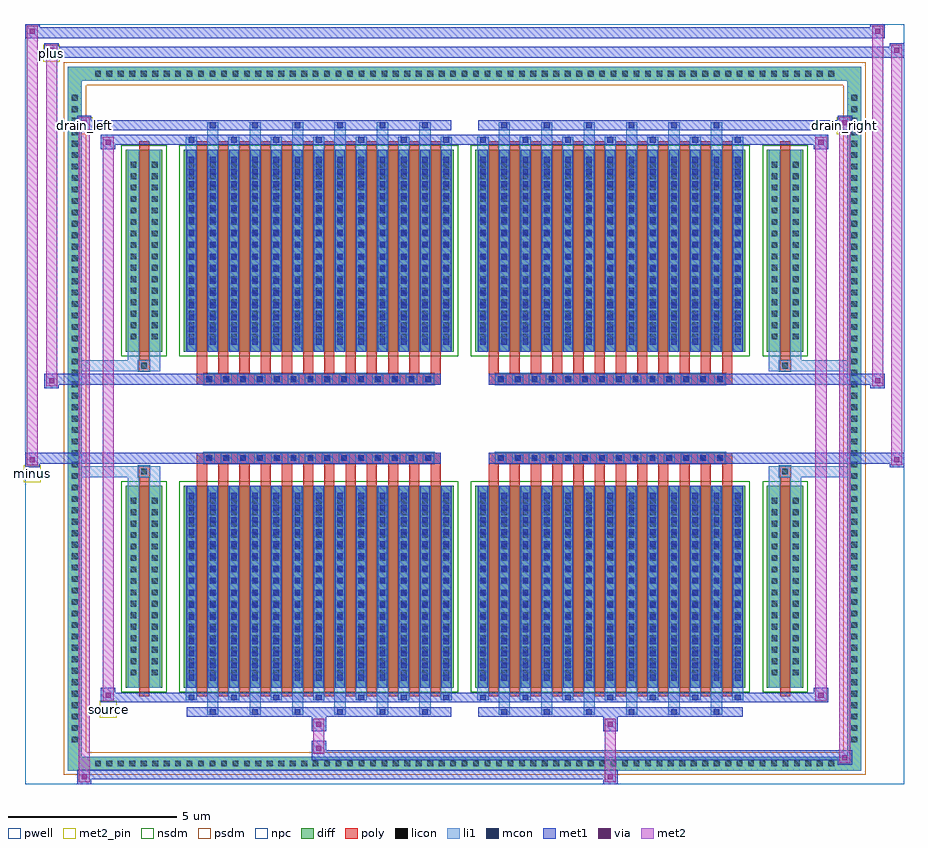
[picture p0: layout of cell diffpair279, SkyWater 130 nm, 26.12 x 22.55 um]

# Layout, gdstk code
import gdstk
lib = gdstk.Library(unit=1e-6, precision=5e-09)
def R(c, l, rs):  # rectangles x0, y0, x1, y1
    for r in rs: c.add(gdstk.rectangle(r[:2], r[2:], *l))
def A(c, l, x, y, w, h, nx, ny, dx, dy):  # array of equal rectangles
    R(c, l, [(x+i*dx, y+j*dy, x+i*dx+w, y+j*dy+h) for i in range(nx) for j in range(ny)])
def P(c, l, *ps):  # polygons
    for p in ps: c.add(gdstk.Polygon(p, *l))
pwell = (64, 44)
diff = (65, 20)
poly = (66, 20)
licon = (66, 44)
li1 = (67, 20)
mcon = (67, 44)
met1 = (68, 20)
via = (68, 44)
met2_pin = (69, 16)
met2 = (69, 20)
nsdm = (93, 44)
psdm = (94, 20)
npc = (95, 20)

diffpair279 = lib.new_cell('diffpair279')
R(diffpair279, pwell, [(-13.04,-10.84,13.04,11.71), (-10.36,-9.03,-0.01,-0.805), (0.01,-9.03,10.36,-0.805), (-10.36,0.805,-0.01,9.03), (0.01,0.805,10.36,9.03)])
A(diffpair279, diff, -11.085, -10.44, 0.41, 0.41, 65, 2, 0.34, 20.47)
A(diffpair279, diff, -11.77, -9.725, 0.41, 0.41, 1, 57, 0, 0.34)
A(diffpair279, diff, 11.36, -9.725, 0.41, 0.41, 1, 57, 0, 0.34)
R(diffpair279, diff, [(-11.085,-10.44,11.085,-10.03), (-11.77,-9.725,-11.36,9.725), (11.36,-9.725,11.77,9.725), (-10.05,-7.985,-8.97,-1.985), (-8.33,-7.985,-0.32,-1.985), (0.32,-7.985,8.33,-1.985), (8.97,-7.985,10.05,-1.985), (-10.05,1.985,-8.97,7.985), (-8.33,1.985,-0.32,7.985), (0.32,1.985,8.33,7.985), (8.97,1.985,10.05,7.985), (-11.085,10.03,11.085,10.44)])
P(diffpair279, diff, [(11.77,10.44),(-11.77,10.44),(-11.77,-10.03),(-11.36,-10.03),(-11.36,10.03),(11.36,10.03),(11.36,-10.03),(-11.36,-10.03),(-11.77,-10.03),(-11.77,-10.44),(11.77,-10.44)])
A(diffpair279, poly, -7.94, -8.235, 0.3, 6.5, 12, 2, 0.63, 9.97)
A(diffpair279, poly, 0.71, -8.235, 0.3, 6.5, 12, 2, 0.63, 9.97)
A(diffpair279, poly, -7.94, -1.735, 0.3, 0.4, 12, 2, 0.63, 3.07)
A(diffpair279, poly, 0.71, -1.735, 0.3, 0.4, 12, 2, 0.63, 3.07)
A(diffpair279, poly, -7.74, -1.335, 0.33, 0.33, 14, 2, 0.5, 2.34)
A(diffpair279, poly, 0.91, -1.335, 0.33, 0.33, 14, 2, 0.5, 2.34)
R(diffpair279, poly, [(-9.66,-8.235,-9.36,-1.735), (9.36,-8.235,9.66,-1.735), (-9.675,-1.735,-9.345,-1.405), (-9.675,-1.735,-9.345,-1.405), (9.345,-1.735,9.675,-1.405), (9.345,-1.735,9.675,-1.405), (-7.94,-1.335,-0.71,-1.005), (0.71,-1.335,7.94,-1.005), (-7.94,1.005,-0.71,1.335), (0.71,1.005,7.94,1.335), (-9.675,1.405,-9.345,1.735), (-9.675,1.405,-9.345,1.735), (9.345,1.405,9.675,1.735), (9.345,1.405,9.675,1.735), (-9.66,1.735,-9.36,8.235), (9.36,1.735,9.66,8.235)])
A(diffpair279, licon, -10.965, -10.32, 0.17, 0.17, 65, 2, 0.34, 20.47)
A(diffpair279, licon, -11.65, -9.605, 0.17, 0.17, 1, 57, 0, 0.34)
A(diffpair279, licon, 11.48, -9.605, 0.17, 0.17, 1, 57, 0, 0.34)
A(diffpair279, licon, -9.91, -7.62, 0.17, 0.17, 1, 16, 0, 0.34)
A(diffpair279, licon, -9.28, -7.62, 0.17, 0.17, 1, 16, 0, 0.34)
A(diffpair279, licon, -8.19, -7.62, 0.17, 0.17, 13, 16, 0.63, 0.34)
A(diffpair279, licon, 0.46, -7.62, 0.17, 0.17, 13, 16, 0.63, 0.34)
A(diffpair279, licon, 9.11, -7.62, 0.17, 0.17, 1, 16, 0, 0.34)
A(diffpair279, licon, 9.74, -7.62, 0.17, 0.17, 1, 16, 0, 0.34)
A(diffpair279, licon, -7.66, -1.255, 0.17, 0.17, 14, 2, 0.5, 2.34)
A(diffpair279, licon, 0.99, -1.255, 0.17, 0.17, 14, 2, 0.5, 2.34)
A(diffpair279, licon, -9.91, 2.35, 0.17, 0.17, 1, 16, 0, 0.34)
A(diffpair279, licon, -9.28, 2.35, 0.17, 0.17, 1, 16, 0, 0.34)
A(diffpair279, licon, -8.19, 2.35, 0.17, 0.17, 13, 16, 0.63, 0.34)
A(diffpair279, licon, 0.46, 2.35, 0.17, 0.17, 13, 16, 0.63, 0.34)
A(diffpair279, licon, 9.11, 2.35, 0.17, 0.17, 1, 16, 0, 0.34)
A(diffpair279, licon, 9.74, 2.35, 0.17, 0.17, 1, 16, 0, 0.34)
R(diffpair279, licon, [(-9.595,-1.655,-9.425,-1.485), (9.425,-1.655,9.595,-1.485), (-9.595,1.485,-9.425,1.655), (9.425,1.485,9.595,1.655)])
A(diffpair279, li1, -11.045, -10.4, 0.33, 0.33, 65, 2, 0.34, 20.47)
A(diffpair279, li1, -11.73, -9.685, 0.33, 0.33, 1, 57, 0, 0.34)
A(diffpair279, li1, 11.4, -9.685, 0.33, 0.33, 1, 57, 0, 0.34)
A(diffpair279, li1, -7.64, -8.79, 0.33, 0.805, 6, 2, 1.26, 16.775)
A(diffpair279, li1, -7.56, -8.79, 0.17, 0.17, 6, 2, 1.26, 17.41)
A(diffpair279, li1, 1.01, -8.79, 0.33, 0.805, 6, 2, 1.26, 16.775)
A(diffpair279, li1, 1.09, -8.79, 0.17, 0.17, 6, 2, 1.26, 17.41)
A(diffpair279, li1, -8.27, -8.36, 0.33, 0.375, 7, 2, 1.26, 16.345)
A(diffpair279, li1, -8.19, -8.36, 0.17, 0.17, 7, 2, 1.26, 16.55)
A(diffpair279, li1, 0.38, -8.36, 0.33, 0.375, 7, 2, 1.26, 16.345)
A(diffpair279, li1, 0.46, -8.36, 0.17, 0.17, 7, 2, 1.26, 16.55)
A(diffpair279, li1, -8.27, -7.985, 0.33, 6, 13, 2, 0.63, 9.97)
A(diffpair279, li1, 0.38, -7.985, 0.33, 6, 13, 2, 0.63, 9.97)
A(diffpair279, li1, -8.19, -7.77, 0.17, 0.17, 13, 16, 0.63, 0.36)
A(diffpair279, li1, -8.19, -7.77, 0.17, 5.57, 13, 2, 0.63, 9.97)
A(diffpair279, li1, 0.46, -7.77, 0.17, 0.17, 13, 16, 0.63, 0.36)
A(diffpair279, li1, 0.46, -7.77, 0.17, 5.57, 13, 2, 0.63, 9.97)
A(diffpair279, li1, -9.99, -7.7, 0.33, 0.33, 1, 16, 0, 0.34)
A(diffpair279, li1, -9.36, -7.7, 0.33, 0.33, 1, 16, 0, 0.34)
A(diffpair279, li1, -8.27, -7.7, 0.33, 0.33, 13, 16, 0.63, 0.34)
A(diffpair279, li1, 0.38, -7.7, 0.33, 0.33, 13, 16, 0.63, 0.34)
A(diffpair279, li1, 9.03, -7.7, 0.33, 0.33, 1, 16, 0, 0.34)
A(diffpair279, li1, 9.66, -7.7, 0.33, 0.33, 1, 16, 0, 0.34)
A(diffpair279, li1, -7.74, -1.335, 0.33, 0.33, 14, 2, 0.5, 2.34)
A(diffpair279, li1, 0.91, -1.335, 0.33, 0.33, 14, 2, 0.5, 2.34)
A(diffpair279, li1, -8.19, 2.2, 0.17, 0.17, 13, 16, 0.63, 0.36)
A(diffpair279, li1, 0.46, 2.2, 0.17, 0.17, 13, 16, 0.63, 0.36)
A(diffpair279, li1, -9.99, 2.27, 0.33, 0.33, 1, 16, 0, 0.34)
A(diffpair279, li1, -9.36, 2.27, 0.33, 0.33, 1, 16, 0, 0.34)
A(diffpair279, li1, -8.27, 2.27, 0.33, 0.33, 13, 16, 0.63, 0.34)
A(diffpair279, li1, 0.38, 2.27, 0.33, 0.33, 13, 16, 0.63, 0.34)
A(diffpair279, li1, 9.03, 2.27, 0.33, 0.33, 1, 16, 0, 0.34)
A(diffpair279, li1, 9.66, 2.27, 0.33, 0.33, 1, 16, 0, 0.34)
R(diffpair279, li1, [(-11.77,-10.44,-11.36,-10.03), (-11.77,-10.44,-11.36,-10.03), (-11.36,-10.44,11.36,-10.03), (11.36,-10.44,11.77,-10.03), (11.36,-10.44,11.77,-10.03), (-11.77,-10.03,-11.36,10.03), (11.36,-10.03,11.77,10.03), (-9.99,-7.985,-9.66,-1.985), (-9.36,-7.985,-9.03,-1.985), (9.03,-7.985,9.36,-1.985), (9.66,-7.985,9.99,-1.985), (-9.99,-1.985,-9.66,-1.405), (-9.36,-1.985,-9.03,-1.405), (9.03,-1.985,9.36,-1.405), (9.66,-1.985,9.99,-1.405), (-11.77,-1.735,-9.675,-1.405), (-9.99,-1.735,-9.675,-1.405), (-9.675,-1.735,-9.345,-1.405), (-9.345,-1.735,-9.03,-1.405), (9.03,-1.735,9.345,-1.405), (9.345,-1.735,9.675,-1.405), (9.345,-1.735,11.77,-1.405), (9.675,-1.735,9.99,-1.405), (-11.77,1.405,-9.675,1.735), (-9.99,1.405,-9.675,1.735), (-9.99,1.405,-9.66,1.985), (-9.675,1.405,-9.345,1.735), (-9.36,1.405,-9.03,1.985), (-9.345,1.405,-9.03,1.735), (9.03,1.405,9.345,1.735), (9.03,1.405,9.36,1.985), (9.345,1.405,9.675,1.735), (9.345,1.405,11.77,1.735), (9.66,1.405,9.99,1.985), (9.675,1.405,9.99,1.735), (-9.99,1.985,-9.66,7.985), (-9.36,1.985,-9.03,7.985), (9.03,1.985,9.36,7.985), (9.66,1.985,9.99,7.985), (-11.77,10.03,-11.36,10.44), (-11.77,10.03,-11.36,10.44), (-11.36,10.03,11.36,10.44), (11.36,10.03,11.77,10.44), (11.36,10.03,11.77,10.44)])
A(diffpair279, mcon, -7.56, -8.79, 0.17, 0.17, 6, 2, 1.26, 17.41)
A(diffpair279, mcon, 1.09, -8.79, 0.17, 0.17, 6, 2, 1.26, 17.41)
A(diffpair279, mcon, -8.19, -8.36, 0.17, 0.17, 7, 2, 1.26, 16.55)
A(diffpair279, mcon, 0.46, -8.36, 0.17, 0.17, 7, 2, 1.26, 16.55)
A(diffpair279, mcon, -8.19, -7.77, 0.17, 0.17, 13, 16, 0.63, 0.36)
A(diffpair279, mcon, 0.46, -7.77, 0.17, 0.17, 13, 16, 0.63, 0.36)
A(diffpair279, mcon, -7.66, -1.255, 0.17, 0.17, 14, 2, 0.5, 2.34)
A(diffpair279, mcon, 0.99, -1.255, 0.17, 0.17, 14, 2, 0.5, 2.34)
A(diffpair279, mcon, -8.19, 2.2, 0.17, 0.17, 13, 16, 0.63, 0.36)
A(diffpair279, mcon, 0.46, 2.2, 0.17, 0.17, 13, 16, 0.63, 0.36)
A(diffpair279, met1, -7.62, -8.85, 0.29, 0.29, 6, 2, 1.26, 17.41)
A(diffpair279, met1, 1.03, -8.85, 0.29, 0.29, 6, 2, 1.26, 17.41)
A(diffpair279, met1, -8.25, -8.42, 0.29, 0.29, 7, 2, 1.26, 16.55)
A(diffpair279, met1, 0.4, -8.42, 0.29, 0.29, 7, 2, 1.26, 16.55)
A(diffpair279, met1, -8.25, -7.985, 0.29, 6, 13, 2, 0.63, 9.97)
A(diffpair279, met1, 0.4, -7.985, 0.29, 6, 13, 2, 0.63, 9.97)
A(diffpair279, met1, -8.25, -7.83, 0.29, 0.29, 13, 16, 0.63, 0.36)
A(diffpair279, met1, 0.4, -7.83, 0.29, 0.29, 13, 16, 0.63, 0.36)
A(diffpair279, met1, -7.72, -1.315, 0.29, 0.29, 14, 2, 0.5, 2.34)
A(diffpair279, met1, 0.93, -1.315, 0.29, 0.29, 14, 2, 0.5, 2.34)
A(diffpair279, met1, -8.25, 2.14, 0.29, 0.29, 13, 16, 0.63, 0.36)
A(diffpair279, met1, 0.4, 2.14, 0.29, 0.29, 13, 16, 0.63, 0.36)
R(diffpair279, met1, [(-11.5,-10.84,-11.07,-10.41), (4.11,-10.84,4.54,-10.41), (-11.5,-10.7,4.54,-10.41), (11.07,-10.27,11.5,-9.84), (-4.54,-10.13,11.5,-9.84), (-4.54,-9.99,-4.11,-9.56), (-4.54,-9.28,-4.11,-8.85), (4.11,-9.28,4.54,-8.85), (-8.25,-8.85,-0.4,-8.56), (0.4,-8.85,8.25,-8.56), (-10.79,-8.42,-10.36,-7.99), (-10.79,-8.42,-8.25,-8.13), (-8.25,-8.42,-0.4,-8.13), (-0.4,-8.42,0.4,-8.13), (0.4,-8.42,8.25,-8.13), (8.25,-8.42,10.79,-8.13), (10.36,-8.42,10.79,-7.99), (-13.04,-1.435,-12.61,-1.005), (12.61,-1.435,13.04,-1.005), (-13.04,-1.335,-0.71,-1.005), (-7.94,-1.335,-0.71,-1.005), (0.71,-1.335,7.94,-1.005), (0.71,-1.335,13.04,-1.005), (-12.47,0.905,-12.04,1.335), (12.04,0.905,12.47,1.335), (-12.47,1.005,-7.94,1.335), (-7.94,1.005,-0.71,1.335), (0.71,1.005,7.94,1.335), (7.94,1.005,12.47,1.335), (-10.79,7.99,-10.36,8.42), (10.36,7.99,10.79,8.42), (-10.79,8.13,-8.25,8.42), (-8.25,8.13,-0.4,8.42), (-0.4,8.13,0.4,8.42), (0.4,8.13,8.25,8.42), (8.25,8.13,10.79,8.42), (-11.5,8.56,-11.07,8.99), (-11.5,8.56,-8.25,8.85), (-8.25,8.56,-0.4,8.85), (0.4,8.56,8.25,8.85), (8.25,8.56,11.5,8.85), (11.07,8.56,11.5,8.99), (-12.47,10.71,-12.04,11.14), (-12.47,10.71,-10.36,11.04), (-10.36,10.71,10.36,11.04), (10.36,10.71,13.04,11.04), (12.61,10.71,13.04,11.14), (-13.04,11.28,-12.61,11.71), (-13.04,11.28,-10.36,11.61), (-10.36,11.28,10.36,11.61), (10.36,11.28,12.47,11.61), (12.04,11.28,12.47,11.71)])
R(diffpair279, via, [(-11.36,-10.7,-11.21,-10.55), (4.25,-10.7,4.4,-10.55), (11.21,-10.13,11.36,-9.98), (-4.4,-9.85,-4.25,-9.7), (-4.4,-9.14,-4.25,-8.99), (4.25,-9.14,4.4,-8.99), (-10.65,-8.28,-10.5,-8.13), (10.5,-8.28,10.65,-8.13), (-12.9,-1.295,-12.75,-1.145), (12.75,-1.295,12.9,-1.145), (-12.33,1.045,-12.18,1.195), (12.18,1.045,12.33,1.195), (-10.65,8.13,-10.5,8.28), (10.5,8.13,10.65,8.28), (-11.36,8.7,-11.21,8.85), (11.21,8.7,11.36,8.85), (-12.33,10.85,-12.18,11), (12.75,10.85,12.9,11), (-12.9,11.42,-12.75,11.57), (12.18,11.42,12.33,11.57)])
R(diffpair279, met2_pin, [(-10.825,-8.87,-10.325,-8.37), (-13.075,-1.885,-12.575,-1.385), (-11.535,8.44,-11.035,8.94), (11.035,8.44,11.535,8.94), (-12.505,10.59,-12.005,11.09)])
R(diffpair279, met2, [(-11.45,-10.79,-11.12,-10.46), (-11.45,-10.79,-11.12,8.94), (4.16,-10.79,4.49,-10.46), (4.16,-10.46,4.49,-9.23), (11.12,-10.22,11.45,-9.89), (11.12,-10.22,11.45,8.94), (-4.49,-9.94,-4.16,-9.61), (-4.49,-9.61,-4.16,-9.23), (-4.49,-9.23,-4.16,-8.9), (4.16,-9.23,4.49,-8.9), (-10.74,-8.37,-10.41,-8.04), (-10.74,-8.37,-10.41,8.37), (10.41,-8.37,10.74,-8.04), (10.41,-8.37,10.74,8.37), (-12.99,-1.385,-12.66,-1.055), (-12.99,-1.385,-12.66,11.66), (12.66,-1.385,12.99,-1.055), (12.66,-1.385,12.99,11.09), (-12.42,0.955,-12.09,1.285), (-12.42,0.955,-12.09,11.09), (12.09,0.955,12.42,1.285), (12.09,0.955,12.42,11.66), (-10.74,8.04,-10.41,8.37), (10.41,8.04,10.74,8.37), (-11.45,8.61,-11.12,8.94), (11.12,8.61,11.45,8.94), (-12.42,10.76,-12.09,11.09), (12.66,10.76,12.99,11.09), (-12.99,11.33,-12.66,11.66), (12.09,11.33,12.42,11.66)])
P(diffpair279, met2, [(12.99,-1.385),(12.99,-1.385),(12.99,-1.055),(12.99,-1.055)],
  [(12.99,10.76),(12.99,10.76),(12.99,11.09),(12.99,11.09)],
  [(-12.66,-1.385),(-12.66,-1.385),(-12.66,-1.055),(-12.66,-1.055)],
  [(-12.66,11.33),(-12.66,11.33),(-12.66,11.66),(-12.66,11.66)],
  [(12.42,0.955),(12.42,0.955),(12.42,1.285),(12.42,1.285)],
  [(12.42,11.33),(12.42,11.33),(12.42,11.66),(12.42,11.66)],
  [(-12.09,0.955),(-12.09,0.955),(-12.09,1.285),(-12.09,1.285)],
  [(-12.09,10.76),(-12.09,10.76),(-12.09,11.09),(-12.09,11.09)],
  [(-11.12,-10.79),(-11.12,-10.79),(-11.12,-10.46),(-11.12,-10.46)],
  [(-11.12,8.61),(-11.12,8.61),(-11.12,8.94),(-11.12,8.94)],
  [(11.45,-10.22),(11.45,-10.22),(11.45,-9.89),(11.45,-9.89)],
  [(11.45,8.61),(11.45,8.61),(11.45,8.94),(11.45,8.94)],
  [(-10.41,-8.37),(-10.41,-8.37),(-10.41,-8.04),(-10.41,-8.04)],
  [(-10.41,8.04),(-10.41,8.04),(-10.41,8.37),(-10.41,8.37)],
  [(10.74,-8.37),(10.74,-8.37),(10.74,-8.04),(10.74,-8.04)],
  [(10.74,8.04),(10.74,8.04),(10.74,8.37),(10.74,8.37)])
R(diffpair279, nsdm, [(-10.18,-8.115,-8.84,-1.855), (-8.46,-8.115,-0.19,-1.855), (0.19,-8.115,8.46,-1.855), (8.84,-8.115,10.18,-1.855), (-10.18,1.855,-8.84,8.115), (-8.46,1.855,-0.19,8.115), (0.19,1.855,8.46,8.115), (8.84,1.855,10.18,8.115)])
P(diffpair279, psdm, [(11.9,10.57),(-11.9,10.57),(-11.9,-9.9),(-11.23,-9.9),(-11.23,9.9),(11.23,9.9),(11.23,-9.9),(-11.23,-9.9),(-11.9,-9.9),(-11.9,-10.57),(11.9,-10.57)])
A(diffpair279, npc, -7.76, -1.355, 0.37, 0.37, 14, 2, 0.5, 2.34)
A(diffpair279, npc, 0.89, -1.355, 0.37, 0.37, 14, 2, 0.5, 2.34)
R(diffpair279, npc, [(-9.695,-1.755,-9.325,-1.385), (9.325,-1.755,9.695,-1.385), (-7.76,-1.355,-6.89,-0.985), (-7.76,-1.355,-6.89,-0.985), (-7.26,-1.355,-6.39,-0.985), (-7.26,-1.355,-6.39,-0.985), (-6.76,-1.355,-5.89,-0.985), (-6.76,-1.355,-5.89,-0.985), (-6.26,-1.355,-5.39,-0.985), (-6.26,-1.355,-5.39,-0.985), (-5.76,-1.355,-4.89,-0.985), (-5.76,-1.355,-4.89,-0.985), (-5.26,-1.355,-4.39,-0.985), (-5.26,-1.355,-4.39,-0.985), (-4.76,-1.355,-3.89,-0.985), (-4.76,-1.355,-3.89,-0.985), (-4.26,-1.355,-3.39,-0.985), (-4.26,-1.355,-3.39,-0.985), (-3.76,-1.355,-2.89,-0.985), (-3.76,-1.355,-2.89,-0.985), (-3.26,-1.355,-2.39,-0.985), (-3.26,-1.355,-2.39,-0.985), (-2.76,-1.355,-1.89,-0.985), (-2.76,-1.355,-1.89,-0.985), (-2.26,-1.355,-1.39,-0.985), (-2.26,-1.355,-1.39,-0.985), (-1.76,-1.355,-0.89,-0.985), (-1.76,-1.355,-0.89,-0.985), (0.89,-1.355,1.76,-0.985), (0.89,-1.355,1.76,-0.985), (1.39,-1.355,2.26,-0.985), (1.39,-1.355,2.26,-0.985), (1.89,-1.355,2.76,-0.985), (1.89,-1.355,2.76,-0.985), (2.39,-1.355,3.26,-0.985), (2.39,-1.355,3.26,-0.985), (2.89,-1.355,3.76,-0.985), (2.89,-1.355,3.76,-0.985), (3.39,-1.355,4.26,-0.985), (3.39,-1.355,4.26,-0.985), (3.89,-1.355,4.76,-0.985), (3.89,-1.355,4.76,-0.985), (4.39,-1.355,5.26,-0.985), (4.39,-1.355,5.26,-0.985), (4.89,-1.355,5.76,-0.985), (4.89,-1.355,5.76,-0.985), (5.39,-1.355,6.26,-0.985), (5.39,-1.355,6.26,-0.985), (5.89,-1.355,6.76,-0.985), (5.89,-1.355,6.76,-0.985), (6.39,-1.355,7.26,-0.985), (6.39,-1.355,7.26,-0.985), (6.89,-1.355,7.76,-0.985), (6.89,-1.355,7.76,-0.985), (-7.76,0.985,-6.89,1.355), (-7.76,0.985,-6.89,1.355), (-7.26,0.985,-6.39,1.355), (-7.26,0.985,-6.39,1.355), (-6.76,0.985,-5.89,1.355), (-6.76,0.985,-5.89,1.355), (-6.26,0.985,-5.39,1.355), (-6.26,0.985,-5.39,1.355), (-5.76,0.985,-4.89,1.355), (-5.76,0.985,-4.89,1.355), (-5.26,0.985,-4.39,1.355), (-5.26,0.985,-4.39,1.355), (-4.76,0.985,-3.89,1.355), (-4.76,0.985,-3.89,1.355), (-4.26,0.985,-3.39,1.355), (-4.26,0.985,-3.39,1.355), (-3.76,0.985,-2.89,1.355), (-3.76,0.985,-2.89,1.355), (-3.26,0.985,-2.39,1.355), (-3.26,0.985,-2.39,1.355), (-2.76,0.985,-1.89,1.355), (-2.76,0.985,-1.89,1.355), (-2.26,0.985,-1.39,1.355), (-2.26,0.985,-1.39,1.355), (-1.76,0.985,-0.89,1.355), (-1.76,0.985,-0.89,1.355), (0.89,0.985,1.76,1.355), (0.89,0.985,1.76,1.355), (1.39,0.985,2.26,1.355), (1.39,0.985,2.26,1.355), (1.89,0.985,2.76,1.355), (1.89,0.985,2.76,1.355), (2.39,0.985,3.26,1.355), (2.39,0.985,3.26,1.355), (2.89,0.985,3.76,1.355), (2.89,0.985,3.76,1.355), (3.39,0.985,4.26,1.355), (3.39,0.985,4.26,1.355), (3.89,0.985,4.76,1.355), (3.89,0.985,4.76,1.355), (4.39,0.985,5.26,1.355), (4.39,0.985,5.26,1.355), (4.89,0.985,5.76,1.355), (4.89,0.985,5.76,1.355), (5.39,0.985,6.26,1.355), (5.39,0.985,6.26,1.355), (5.89,0.985,6.76,1.355), (5.89,0.985,6.76,1.355), (6.39,0.985,7.26,1.355), (6.39,0.985,7.26,1.355), (6.89,0.985,7.76,1.355), (6.89,0.985,7.76,1.355), (-9.695,1.385,-9.325,1.755), (9.325,1.385,9.695,1.755)])
diffpair279.add(gdstk.Label('minus', (-12.825,-1.635), layer=69, texttype=5))
diffpair279.add(gdstk.Label('drain_right', (11.285,8.69), layer=69, texttype=5))
diffpair279.add(gdstk.Label('drain_left', (-11.285,8.69), layer=69, texttype=5))
diffpair279.add(gdstk.Label('source', (-10.575,-8.62), layer=69, texttype=5))
diffpair279.add(gdstk.Label('plus', (-12.255,10.84), layer=69, texttype=5))

lib.write_gds('diffpair279.gds')
